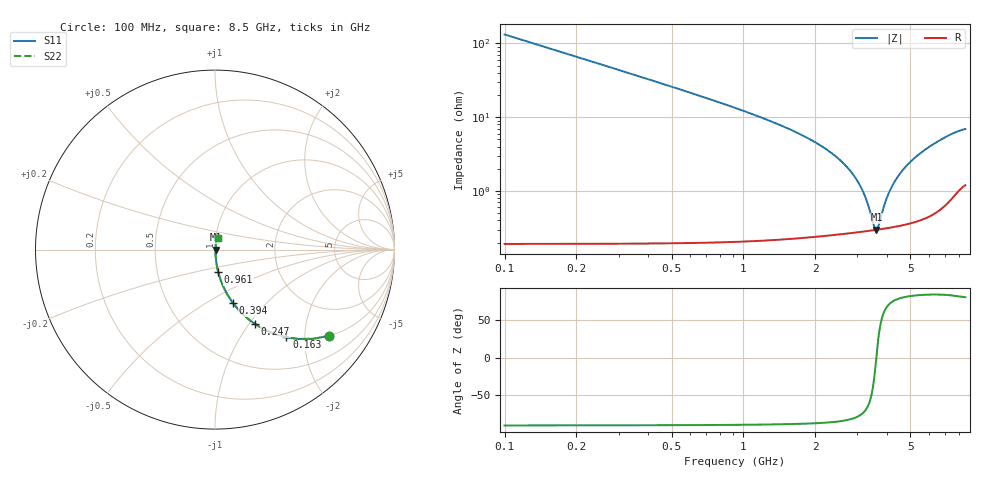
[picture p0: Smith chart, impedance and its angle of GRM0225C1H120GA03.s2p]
!Murata Part Number: GRM0225C1H120GA03
!These Parameters are Measured in Series Mode Connection
!Data Generated on Mar 30, 2021
!  o--ll--o
!Port1  Port2
!  o------o
!Operation Temp=25[degC], DC Bias Voltage=0[V]
!Freq. Start=100[MHz] Stop=9[GHz] 401[Steps]
# Hz S RI R 50
!Freq.(Hz) S11(Real) S11(Imag) S21(Real) S21(Imag) S12(Real) S12(Imag) S22(Real) S22(Imag)
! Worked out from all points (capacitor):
!   401 points, 100 MHz to 8.5 GHz, reference 50 ohm
!   read as one part in series: C = 12 pF near 142 MHz
!   lowest |Z| = 299 mohm at 3.607 GHz (marker M1)
!   series resonance near 3.601 GHz, so ESL is about 160 pH
!   S11 on the Smith chart (normalised r, x): 100 MHz: 1.00, -2.65; 163 MHz: 1.00, -1.62; 247 MHz: 1.00, -1.07; 394 MHz: 1.00, -0.67; 961 MHz: 1.00, -0.26; 8.5 GHz: 1.02, +0.14
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1e8  0.637 -0.4801  0.363 0.4801  0.363 0.4801  0.637 -0.4801
1.63e8  0.3976 -0.4882  0.6024 0.4882  0.6024 0.4882  0.3976 -0.4882
2.47e8  0.223 -0.4144  0.777 0.4144  0.777 0.4144  0.223 -0.4144
3.94e8  0.101 -0.2984  0.899 0.2984  0.899 0.2984  0.101 -0.2984
6.46e8  0.0397 -0.1903  0.9603 0.1903  0.9603 0.1903  0.0397 -0.1903
9.61e8  0.0181 -0.1255  0.9819 0.1255  0.9819 0.1255  0.0181 -0.1255
1.507e9  0.0074 -0.0717  0.9926 0.0717  0.9926 0.0717  0.0074 -0.0717
2.41e9  0.00345 -0.0301  0.9966 0.0301  0.9966 0.0301  0.00345 -0.0301
2.914e9  0.00296 -0.0156  0.997 0.0156  0.997 0.0156  0.00296 -0.0156
3.187e9  0.0029 -0.00893  0.9971 0.00893  0.9971 0.00893  0.0029 -0.00893
3.334e9  0.00291 -0.00563  0.9971 0.00563  0.9971 0.00563  0.00291 -0.00563
3.523e9  0.00295 -0.00161  0.9971 0.00161  0.9971 0.00161  0.00295 -0.00161
3.607e9  0.00298 0.000112  0.997 -0.000112  0.997 -0.000112  0.00298 0.000112
3.67e9  0.003 0.00137  0.997 -0.00137  0.997 -0.00137  0.003 0.00137
3.859e9  0.0031 0.00504  0.9969 -0.00504  0.9969 -0.00504  0.0031 0.00504
3.985e9  0.00318 0.00739  0.9968 -0.00739  0.9968 -0.00739  0.00318 0.00739
4.3e9  0.00343 0.013  0.9966 -0.013  0.9966 -0.013  0.00343 0.013
4.573e9  0.0037 0.0176  0.9963 -0.0176  0.9963 -0.0176  0.0037 0.0176
4.888e9  0.00408 0.0227  0.9959 -0.0227  0.9959 -0.0227  0.00408 0.0227
5.707e9  0.0054 0.035  0.9946 -0.035  0.9946 -0.035  0.0054 0.035
7.114e9  0.00958 0.0539  0.9904 -0.0539  0.9904 -0.0539  0.00958 0.0539
8.5e9  0.0164 0.0664  0.9836 -0.0664  0.9836 -0.0664  0.0164 0.0664
